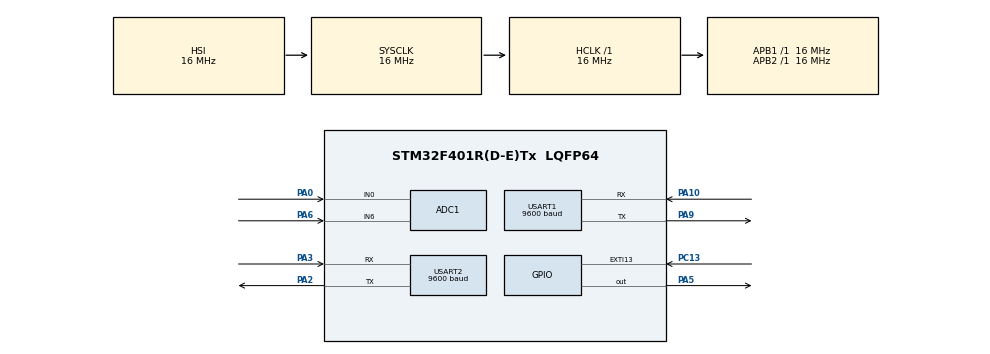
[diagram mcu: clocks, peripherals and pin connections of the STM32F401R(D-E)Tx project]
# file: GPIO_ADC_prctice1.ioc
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ADC1.Channel-0\#ChannelRegularConversion=ADC_CHANNEL_6
ADC1.NbrOfConversionFlag=1
ADC1.Rank-0\#ChannelRegularConversion=1
ADC1.SamplingTime-0\#ChannelRegularConversion=ADC_SAMPLETIME_3CYCLES
ADC1.master=1
Mcu.Family=STM32F4
Mcu.Name=STM32F401R(D-E)Tx
Mcu.Package=LQFP64
NVIC.ADC_IRQn=true\:2\:0\:true\:false\:true\:true\:true
NVIC.EXTI15_10_IRQn=true\:1\:0\:true\:false\:true\:true\:true
NVIC.PriorityGroup=NVIC_PRIORITYGROUP_4
NVIC.USART1_IRQn=true\:1\:0\:true\:false\:true\:true\:true
NVIC.USART2_IRQn=true\:1\:0\:true\:false\:true\:true\:true
PA0-WKUP.Signal=ADCx_IN0
PA10.Mode=Asynchronous
PA10.Signal=USART1_RX
PA2.Mode=Asynchronous
PA2.Signal=USART2_TX
PA3.Mode=Asynchronous
PA3.Signal=USART2_RX
PA5.PinState=GPIO_PIN_SET
PA5.Signal=GPIO_Output
PA6.Signal=ADCx_IN6
PA9.Mode=Asynchronous
PA9.Signal=USART1_TX
PC13-ANTI_TAMP.GPIO_ModeDefaultEXTI=GPIO_MODE_IT_FALLING
PC13-ANTI_TAMP.Signal=GPXTI13
ProjectManager.HeapSize=0x200
ProjectManager.StackSize=0x400
ProjectManager.TargetToolchain=TrueSTUDIO
RCC.AHBFreq_Value=16000000
RCC.APB1Freq_Value=16000000
RCC.APB2Freq_Value=16000000
RCC.CortexFreq_Value=16000000
RCC.HSE_VALUE=25000000
RCC.HSI_VALUE=16000000
RCC.LSE_VALUE=32768
RCC.SYSCLKFreq_VALUE=16000000
RCC.VCOOutputFreq_Value=192000000
SH.ADCx_IN0.0=ADC1_IN0,IN0
SH.ADCx_IN6.0=ADC1_IN6,IN6
USART1.BaudRate=9600
USART1.VirtualMode=VM_ASYNC
USART2.BaudRate=9600
USART2.VirtualMode=VM_ASYNC
board=custom

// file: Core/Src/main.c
/* USER CODE BEGIN Header */
/**
  ******************************************************************************
  * @file           : main.c
  * @brief          : Main program body
  ******************************************************************************
  * @attention
  *
  * <h2><center>&copy; Copyright (c) 2021 STMicroelectronics.
  * All rights reserved.</center></h2>
  *
  * This software component is licensed by ST under BSD 3-Clause license,
  * the "License"; You may not use this file except in compliance with the
  * License. You may obtain a copy of the License at:
  *                        opensource.org/licenses/BSD-3-Clause
  *
  ******************************************************************************
 	仕様：青ボタンを押すと、Teratermに「SW:OK」を表示する。
	　　　　AD変換で、可変抵抗を回すと、音量を変更する。
	　　　　LED：ON
	使用マイコンボード：nucleo f401re

	使用PIN：
	PC_13：ボタン
	PA_0：AD変換入力
	PA_2：USART2_TX
	PA_3：USART2_RX
	PA_5：LED ON
	PA_10：USART1_RX
    PA_10：USART1_TX
  */
/* USER CODE END Header */
#include "main.h"

ADC_HandleTypeDef hadc1;

UART_HandleTypeDef huart1;
UART_HandleTypeDef huart2;

void SystemClock_Config(void);
static void MX_GPIO_Init(void);
static void MX_ADC1_Init(void);
static void MX_USART1_UART_Init(void);
static void MX_USART2_UART_Init(void);

/* USER CODE BEGIN 0 */
//青ボタンスイッチよう変数
__IO uint8_t sw1;
//AD変換用変数：可変抵抗の電圧値を入力
 __IO uint32_t analogValue;

/* USER CODE END 0 */

int main(void)
{

  /* MCU Configuration--------------------------------------------------------*/

  /* Reset of all peripherals, Initializes the Flash interface and the Systick. */
  HAL_Init();

  /* Configure the system clock */
  SystemClock_Config();

  /* Initialize all configured peripherals */
  MX_GPIO_Init();
  MX_ADC1_Init();
  MX_USART1_UART_Init();
  MX_USART2_UART_Init();
  /* USER CODE BEGIN 2 */
  sw1 = 0;

  //配列の宣言
  uint8_t swon[5][5] = {"START","SON","SOFF"};
  HAL_UART_Transmit(&huart2,&swon[0][0],sizeof(swon[0]),100);
  /* USER CODE END 2 */

  /* Infinite loop */
  while (1)
  {

    /* USER CODE BEGIN 3 */
	  //AD変換開始
	  HAL_ADC_Start(&hadc1);
	  //ポーリング処理
	  if(HAL_ADC_PollForConversion(&hadc1,1000)==HAL_OK)
	    {
	  	  analogValue = HAL_ADC_GetValue(&hadc1);
	    }
	  //AD変換終了
	  HAL_ADC_Stop(&hadc1);
	  uint8_t vol[] = {analogValue};
	  HAL_UART_Transmit(&huart2,vol,sizeof(vol),100);

	  if(sw1 == 1)
	  	   {
	  		   HAL_UART_Transmit(&huart2,&swon[1][0],sizeof(swon[1]),100);
	  		   HAL_Delay(1000);
	  		   sw1 = 0;
	  	   }
  }
  /* USER CODE END 3 */
}

void SystemClock_Config(void)
{
  RCC_OscInitTypeDef RCC_OscInitStruct = {0};
  RCC_ClkInitTypeDef RCC_ClkInitStruct = {0};

  /** Configure the main internal regulator output voltage
  */
  __HAL_RCC_PWR_CLK_ENABLE();
  __HAL_PWR_VOLTAGESCALING_CONFIG(PWR_REGULATOR_VOLTAGE_SCALE2);
  /** Initializes the RCC Oscillators according to the specified parameters
  * in the RCC_OscInitTypeDef structure.
  */
  RCC_OscInitStruct.OscillatorType = RCC_OSCILLATORTYPE_HSI;
  RCC_OscInitStruct.HSIState = RCC_HSI_ON;
  RCC_OscInitStruct.HSICalibrationValue = RCC_HSICALIBRATION_DEFAULT;
  RCC_OscInitStruct.PLL.PLLState = RCC_PLL_NONE;
  if (HAL_RCC_OscConfig(&RCC_OscInitStruct) != HAL_OK)
  {
    Error_Handler();
  }
  /** Initializes the CPU, AHB and APB buses clocks
  */
  RCC_ClkInitStruct.ClockType = RCC_CLOCKTYPE_HCLK|RCC_CLOCKTYPE_SYSCLK
                              |RCC_CLOCKTYPE_PCLK1|RCC_CLOCKTYPE_PCLK2;
  RCC_ClkInitStruct.SYSCLKSource = RCC_SYSCLKSOURCE_HSI;
  RCC_ClkInitStruct.AHBCLKDivider = RCC_SYSCLK_DIV1;
  RCC_ClkInitStruct.APB1CLKDivider = RCC_HCLK_DIV1;
  RCC_ClkInitStruct.APB2CLKDivider = RCC_HCLK_DIV1;

  if (HAL_RCC_ClockConfig(&RCC_ClkInitStruct, FLASH_LATENCY_0) != HAL_OK)
  {
    Error_Handler();
  }
}

static void MX_ADC1_Init(void)
{

  ADC_ChannelConfTypeDef sConfig = {0};

  /** Configure the global features of the ADC (Clock, Resolution, Data Alignment and number of conversion)
  */
  hadc1.Instance = ADC1;
  hadc1.Init.ClockPrescaler = ADC_CLOCK_SYNC_PCLK_DIV2;
  hadc1.Init.Resolution = ADC_RESOLUTION_12B;
  hadc1.Init.ScanConvMode = DISABLE;
  hadc1.Init.ContinuousConvMode = DISABLE;
  hadc1.Init.DiscontinuousConvMode = DISABLE;
  hadc1.Init.ExternalTrigConvEdge = ADC_EXTERNALTRIGCONVEDGE_NONE;
  hadc1.Init.ExternalTrigConv = ADC_SOFTWARE_START;
  hadc1.Init.DataAlign = ADC_DATAALIGN_RIGHT;
  hadc1.Init.NbrOfConversion = 1;
  hadc1.Init.DMAContinuousRequests = DISABLE;
  hadc1.Init.EOCSelection = ADC_EOC_SINGLE_CONV;
  if (HAL_ADC_Init(&hadc1) != HAL_OK)
  {
    Error_Handler();
  }
  /** Configure for the selected ADC regular channel its corresponding rank in the sequencer and its sample time.
  */
  sConfig.Channel = ADC_CHANNEL_6;
  sConfig.Rank = 1;
  sConfig.SamplingTime = ADC_SAMPLETIME_3CYCLES;
  if (HAL_ADC_ConfigChannel(&hadc1, &sConfig) != HAL_OK)
  {
    Error_Handler();
  }

}

static void MX_USART1_UART_Init(void)
{

  huart1.Instance = USART1;
  huart1.Init.BaudRate = 9600;
  huart1.Init.WordLength = UART_WORDLENGTH_8B;
  huart1.Init.StopBits = UART_STOPBITS_1;
  huart1.Init.Parity = UART_PARITY_NONE;
  huart1.Init.Mode = UART_MODE_TX_RX;
  huart1.Init.HwFlowCtl = UART_HWCONTROL_NONE;
  huart1.Init.OverSampling = UART_OVERSAMPLING_16;
  if (HAL_UART_Init(&huart1) != HAL_OK)
  {
    Error_Handler();
  }

}

static void MX_USART2_UART_Init(void)
{

  huart2.Instance = USART2;
  huart2.Init.BaudRate = 9600;
  huart2.Init.WordLength = UART_WORDLENGTH_8B;
  huart2.Init.StopBits = UART_STOPBITS_1;
  huart2.Init.Parity = UART_PARITY_NONE;
  huart2.Init.Mode = UART_MODE_TX_RX;
  huart2.Init.HwFlowCtl = UART_HWCONTROL_NONE;
  huart2.Init.OverSampling = UART_OVERSAMPLING_16;
  if (HAL_UART_Init(&huart2) != HAL_OK)
  {
    Error_Handler();
  }

}

static void MX_GPIO_Init(void)
{
  GPIO_InitTypeDef GPIO_InitStruct = {0};

  /* GPIO Ports Clock Enable */
  __HAL_RCC_GPIOC_CLK_ENABLE();
  __HAL_RCC_GPIOA_CLK_ENABLE();

  /*Configure GPIO pin Output Level */
  HAL_GPIO_WritePin(GPIOA, GPIO_PIN_5, GPIO_PIN_SET);

  /*Configure GPIO pin : PC13 */
  GPIO_InitStruct.Pin = GPIO_PIN_13;
  GPIO_InitStruct.Mode = GPIO_MODE_IT_FALLING;
  GPIO_InitStruct.Pull = GPIO_NOPULL;
  HAL_GPIO_Init(GPIOC, &GPIO_InitStruct);

  /*Configure GPIO pin : PA5 */
  GPIO_InitStruct.Pin = GPIO_PIN_5;
  GPIO_InitStruct.Mode = GPIO_MODE_OUTPUT_PP;
  GPIO_InitStruct.Pull = GPIO_NOPULL;
  GPIO_InitStruct.Speed = GPIO_SPEED_FREQ_LOW;
  HAL_GPIO_Init(GPIOA, &GPIO_InitStruct);

  /* EXTI interrupt init*/
  HAL_NVIC_SetPriority(EXTI15_10_IRQn, 1, 0);
  HAL_NVIC_EnableIRQ(EXTI15_10_IRQn);

}

/* USER CODE BEGIN 4 */
//割り込み処理
//Pusedの割り込み処理
void HAL_GPIO_EXTI_Callback(uint16_t GPIO_Pin)
{
	//GPIOのPIN_13がONになったら
	if(GPIO_Pin == GPIO_PIN_13)
	{
		//sw1=1に変更する。
		sw1 = 1;
	}
}
/* USER CODE END 4 */

void Error_Handler(void)
{
  __disable_irq();
  while (1)
  {
  }
}

/************************ (C) COPYRIGHT STMicroelectronics *****END OF FILE****/
